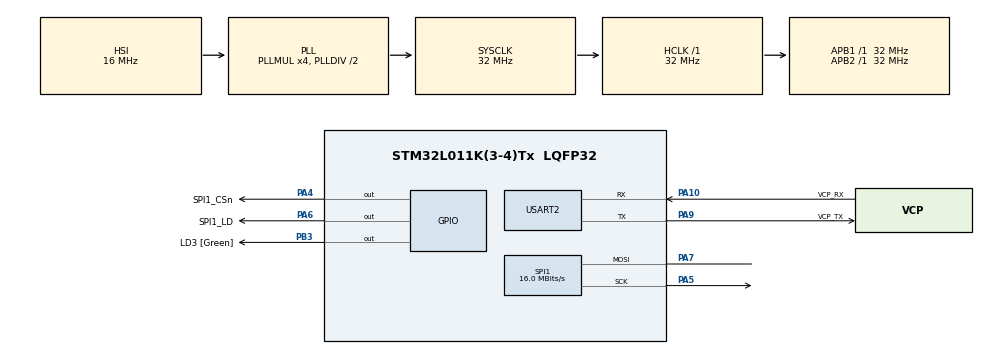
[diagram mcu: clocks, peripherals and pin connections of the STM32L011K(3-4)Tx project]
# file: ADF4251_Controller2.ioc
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Mcu.Family=STM32L0
Mcu.Name=STM32L011K(3-4)Tx
Mcu.Package=LQFP32
NVIC.USART2_IRQn=true\:0\:0\:false\:false\:true\:true\:true
PA10.GPIO_Label=VCP_RX
PA10.Mode=Asynchronous
PA10.Signal=USART2_RX
PA13.GPIO_Label=TMS
PA13.Mode=Serial_Wire
PA13.Signal=SYS_SWDIO
PA14.GPIO_Label=TCK
PA14.Mode=Serial_Wire
PA14.Signal=SYS_SWCLK
PA4.GPIO_Label=SPI1_CSn
PA4.Signal=GPIO_Output
PA5.Mode=Simplex_Bidirectional_Master
PA5.Signal=SPI1_SCK
PA6.GPIO_Label=SPI1_LD
PA6.Signal=GPIO_Output
PA7.Mode=Simplex_Bidirectional_Master
PA7.Signal=SPI1_MOSI
PA9.GPIO_Label=VCP_TX
PA9.Mode=Asynchronous
PA9.Signal=USART2_TX
PB3.GPIO_Label=LD3 [Green]
PB3.Signal=GPIO_Output
ProjectManager.HeapSize=0x200
ProjectManager.StackSize=0x400
ProjectManager.TargetToolchain=SW4STM32
RCC.AHBFreq_Value=32000000
RCC.APB1Freq_Value=32000000
RCC.APB1TimFreq_Value=32000000
RCC.APB2Freq_Value=32000000
RCC.APB2TimFreq_Value=32000000
RCC.HCLKFreq_Value=32000000
RCC.HSE_VALUE=8000000
RCC.HSI16_VALUE=16000000
RCC.HSI48_VALUE=48000000
RCC.HSI_VALUE=16000000
RCC.LSE_VALUE=32768
RCC.MSI_VALUE=2097000
RCC.PLLMUL=RCC_PLLMUL_4
RCC.SYSCLKFreq_VALUE=32000000
RCC.SYSCLKSource=RCC_SYSCLKSOURCE_PLLCLK
RCC.VCOOutputFreq_Value=64000000
SPI1.CalculateBaudRate=16.0 MBits/s
SPI1.Direction=SPI_DIRECTION_1LINE
SPI1.Mode=SPI_MODE_MASTER
SPI1.VirtualType=VM_MASTER
USART2.VirtualMode-Asynchronous=VM_ASYNC
board=NUCLEO-L011K4

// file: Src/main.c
/* USER CODE BEGIN Header */
/**
  ******************************************************************************
  * @file           : main.c
  * @brief          : Main program body
  ******************************************************************************
  ** This notice applies to any and all portions of this file
  * that are not between comment pairs USER CODE BEGIN and
  * USER CODE END. Other portions of this file, whether
  * inserted by the user or by software development tools
  * are owned by their respective copyright owners.
  *
  * COPYRIGHT(c) 2019 STMicroelectronics
  *
  * Redistribution and use in source and binary forms, with or without modification,
  * are permitted provided that the following conditions are met:
  *   1. Redistributions of source code must retain the above copyright notice,
  *      this list of conditions and the following disclaimer.
  *   2. Redistributions in binary form must reproduce the above copyright notice,
  *      this list of conditions and the following disclaimer in the documentation
  *      and/or other materials provided with the distribution.
  *   3. Neither the name of STMicroelectronics nor the names of its contributors
  *      may be used to endorse or promote products derived from this software
  *      without specific prior written permission.
  *
  * THIS SOFTWARE IS PROVIDED BY THE COPYRIGHT HOLDERS AND CONTRIBUTORS "AS IS"
  * AND ANY EXPRESS OR IMPLIED WARRANTIES, INCLUDING, BUT NOT LIMITED TO, THE
  * IMPLIED WARRANTIES OF MERCHANTABILITY AND FITNESS FOR A PARTICULAR PURPOSE ARE
  * DISCLAIMED. IN NO EVENT SHALL THE COPYRIGHT HOLDER OR CONTRIBUTORS BE LIABLE
  * FOR ANY DIRECT, INDIRECT, INCIDENTAL, SPECIAL, EXEMPLARY, OR CONSEQUENTIAL
  * DAMAGES (INCLUDING, BUT NOT LIMITED TO, PROCUREMENT OF SUBSTITUTE GOODS OR
  * SERVICES; LOSS OF USE, DATA, OR PROFITS; OR BUSINESS INTERRUPTION) HOWEVER
  * CAUSED AND ON ANY THEORY OF LIABILITY, WHETHER IN CONTRACT, STRICT LIABILITY,
  * OR TORT (INCLUDING NEGLIGENCE OR OTHERWISE) ARISING IN ANY WAY OUT OF THE USE
  * OF THIS SOFTWARE, EVEN IF ADVISED OF THE POSSIBILITY OF SUCH DAMAGE.
  *
  ******************************************************************************
  */
/* USER CODE END Header */

#include "main.h"

/* USER CODE BEGIN Includes */
#include "ringbuffer.h"
#include "adf4351.h"

/* USER CODE END Includes */

SPI_HandleTypeDef hspi1;

UART_HandleTypeDef huart2;

/* USER CODE BEGIN PV */
ringbuf_uint8t uart2_rx_rb;
uint8_t uart2_tmp_rx_char;
#define uart2_rx_buffer_size 6
uint8_t uart2_rx_buffer[uart2_rx_buffer_size];
/* USER CODE END PV */

void SystemClock_Config(void);
static void MX_GPIO_Init(void);
static void MX_USART2_UART_Init(void);
static void MX_SPI1_Init(void);

int main(void)
{

  /* MCU Configuration--------------------------------------------------------*/

  /* Reset of all peripherals, Initializes the Flash interface and the Systick. */
  HAL_Init();

  /* USER CODE BEGIN Init */
  // setup initial state for SPI I/O Pins..
  HAL_GPIO_WritePin(SPI1_CSn_GPIO_Port, SPI1_CSn_Pin, 1);
  HAL_GPIO_WritePin(SPI1_LD_GPIO_Port, SPI1_LD_Pin, 1);
  // set LED default states (turns them on)
  HAL_GPIO_WritePin(LD3_GPIO_Port, LD3_Pin, 1);

  /* USER CODE END Init */

  /* Configure the system clock */
  SystemClock_Config();

  /* Initialize all configured peripherals */
  MX_GPIO_Init();
  MX_USART2_UART_Init();
  MX_SPI1_Init();
  /* USER CODE BEGIN 2 */
  rb_init(&uart2_rx_rb, uart2_rx_buffer, uart2_rx_buffer_size);
  cmd_sm_init();
  send_ident();
  // enable receive interrupt for UART1
  HAL_UART_Receive_IT(&huart2, &uart2_tmp_rx_char, 1 );
  /* USER CODE END 2 */

  /* Infinite loop */
  /* USER CODE BEGIN WHILE */
  int loop_counter = 0;
  while (1)
  {
    /* USER CODE END WHILE */
		// update command state machine state
		// reads rx queue processing input
		// makes calls to adf4351 to compute and set new state.
	    cmd_sm_update();

		//main loop heart beat LED..
		if ( loop_counter == 100000 ) {
			HAL_GPIO_TogglePin(LD3_GPIO_Port, LD3_Pin );
			loop_counter = 0;
		} else {
			++loop_counter;
		}
  }
}

void SystemClock_Config(void)
{
  RCC_OscInitTypeDef RCC_OscInitStruct = {0};
  RCC_ClkInitTypeDef RCC_ClkInitStruct = {0};
  RCC_PeriphCLKInitTypeDef PeriphClkInit = {0};

  /**Configure the main internal regulator output voltage
  */
  __HAL_PWR_VOLTAGESCALING_CONFIG(PWR_REGULATOR_VOLTAGE_SCALE1);
  /**Initializes the CPU, AHB and APB busses clocks
  */
  RCC_OscInitStruct.OscillatorType = RCC_OSCILLATORTYPE_HSI;
  RCC_OscInitStruct.HSIState = RCC_HSI_ON;
  RCC_OscInitStruct.HSICalibrationValue = RCC_HSICALIBRATION_DEFAULT;
  RCC_OscInitStruct.PLL.PLLState = RCC_PLL_ON;
  RCC_OscInitStruct.PLL.PLLSource = RCC_PLLSOURCE_HSI;
  RCC_OscInitStruct.PLL.PLLMUL = RCC_PLLMUL_4;
  RCC_OscInitStruct.PLL.PLLDIV = RCC_PLLDIV_2;
  if (HAL_RCC_OscConfig(&RCC_OscInitStruct) != HAL_OK)
  {
    Error_Handler();
  }
  /**Initializes the CPU, AHB and APB busses clocks
  */
  RCC_ClkInitStruct.ClockType = RCC_CLOCKTYPE_HCLK|RCC_CLOCKTYPE_SYSCLK
                              |RCC_CLOCKTYPE_PCLK1|RCC_CLOCKTYPE_PCLK2;
  RCC_ClkInitStruct.SYSCLKSource = RCC_SYSCLKSOURCE_PLLCLK;
  RCC_ClkInitStruct.AHBCLKDivider = RCC_SYSCLK_DIV1;
  RCC_ClkInitStruct.APB1CLKDivider = RCC_HCLK_DIV1;
  RCC_ClkInitStruct.APB2CLKDivider = RCC_HCLK_DIV1;

  if (HAL_RCC_ClockConfig(&RCC_ClkInitStruct, FLASH_LATENCY_1) != HAL_OK)
  {
    Error_Handler();
  }
  PeriphClkInit.PeriphClockSelection = RCC_PERIPHCLK_USART2;
  PeriphClkInit.Usart2ClockSelection = RCC_USART2CLKSOURCE_PCLK1;
  if (HAL_RCCEx_PeriphCLKConfig(&PeriphClkInit) != HAL_OK)
  {
    Error_Handler();
  }
}

static void MX_SPI1_Init(void)
{

  /* SPI1 parameter configuration*/
  hspi1.Instance = SPI1;
  hspi1.Init.Mode = SPI_MODE_MASTER;
  hspi1.Init.Direction = SPI_DIRECTION_1LINE;
  hspi1.Init.DataSize = SPI_DATASIZE_8BIT;
  hspi1.Init.CLKPolarity = SPI_POLARITY_LOW;
  hspi1.Init.CLKPhase = SPI_PHASE_1EDGE;
  hspi1.Init.NSS = SPI_NSS_SOFT;
  hspi1.Init.BaudRatePrescaler = SPI_BAUDRATEPRESCALER_2;
  hspi1.Init.FirstBit = SPI_FIRSTBIT_MSB;
  hspi1.Init.TIMode = SPI_TIMODE_DISABLE;
  hspi1.Init.CRCCalculation = SPI_CRCCALCULATION_DISABLE;
  hspi1.Init.CRCPolynomial = 7;
  if (HAL_SPI_Init(&hspi1) != HAL_OK)
  {
    Error_Handler();
  }

}

static void MX_USART2_UART_Init(void)
{

  huart2.Instance = USART2;
  huart2.Init.BaudRate = 115200;
  huart2.Init.WordLength = UART_WORDLENGTH_8B;
  huart2.Init.StopBits = UART_STOPBITS_1;
  huart2.Init.Parity = UART_PARITY_NONE;
  huart2.Init.Mode = UART_MODE_TX_RX;
  huart2.Init.HwFlowCtl = UART_HWCONTROL_NONE;
  huart2.Init.OverSampling = UART_OVERSAMPLING_16;
  huart2.Init.OneBitSampling = UART_ONE_BIT_SAMPLE_DISABLE;
  huart2.AdvancedInit.AdvFeatureInit = UART_ADVFEATURE_NO_INIT;
  if (HAL_UART_Init(&huart2) != HAL_OK)
  {
    Error_Handler();
  }

}

static void MX_GPIO_Init(void)
{
  GPIO_InitTypeDef GPIO_InitStruct = {0};

  /* GPIO Ports Clock Enable */
  __HAL_RCC_GPIOA_CLK_ENABLE();
  __HAL_RCC_GPIOB_CLK_ENABLE();

  /*Configure GPIO pin Output Level */
  HAL_GPIO_WritePin(GPIOA, SPI1_CSn_Pin|SPI1_LD_Pin, GPIO_PIN_RESET);

  /*Configure GPIO pin Output Level */
  HAL_GPIO_WritePin(LD3_GPIO_Port, LD3_Pin, GPIO_PIN_RESET);

  /*Configure GPIO pins : SPI1_CSn_Pin SPI1_LD_Pin */
  GPIO_InitStruct.Pin = SPI1_CSn_Pin|SPI1_LD_Pin;
  GPIO_InitStruct.Mode = GPIO_MODE_OUTPUT_PP;
  GPIO_InitStruct.Pull = GPIO_NOPULL;
  GPIO_InitStruct.Speed = GPIO_SPEED_FREQ_LOW;
  HAL_GPIO_Init(GPIOA, &GPIO_InitStruct);

  /*Configure GPIO pin : LD3_Pin */
  GPIO_InitStruct.Pin = LD3_Pin;
  GPIO_InitStruct.Mode = GPIO_MODE_OUTPUT_PP;
  GPIO_InitStruct.Pull = GPIO_NOPULL;
  GPIO_InitStruct.Speed = GPIO_SPEED_FREQ_LOW;
  HAL_GPIO_Init(LD3_GPIO_Port, &GPIO_InitStruct);

}

/* USER CODE BEGIN 4 */
// UART receive interrupt callback
void HAL_UART_RxCpltCallback(UART_HandleTypeDef *huart)
{
  /* Prevent unused argument(s) compilation warning */
  //UNUSED(huart);
  // add received char to ring buffer.
  rb_put(&uart2_rx_rb, uart2_tmp_rx_char );
  // kick off the next read
  HAL_UART_Receive_IT(&huart2, &uart2_tmp_rx_char, 1 );
}

adf4350_init_param pll_config;

void cmd_sm_init() {
  // initialize pll_config structure
  pll_config.clkin = 10e6;
  pll_config.channel_spacing = 100;
  pll_config.power_up_frequency = 146e6;
  pll_config.reference_div_factor = 1;
  pll_config.reference_doubler_enable = 0;
  pll_config.reference_div2_enable = 0;
  pll_config.phase_detector_polarity_positive_enable = 1;
  pll_config.lock_detect_precision_6ns_enable = 0; // 10 ns
  pll_config.lock_detect_function_integer_n_enable = 0; // Fractional pll
  pll_config.charge_pump_current = 7; //2.50
  pll_config.muxout_select = 6; // Digital Lock Detect Out
  pll_config.low_spur_mode_enable = 1; // higher noise, lower spurs.
  pll_config.cycle_slip_reduction_enable = 0;
  pll_config.charge_cancellation_enable = 0;
  pll_config.anti_backlash_3ns_enable = 0;
  pll_config.band_select_clock_mode_high_enable = 0; // low
  pll_config.clk_divider_12bit = 0;
  pll_config.clk_divider_mode = 0;
  pll_config.aux_output_enable = 0;
  pll_config.aux_output_fundamental_enable = 0;
  pll_config.mute_till_lock_enable = 1;
  pll_config.output_power = 2; // +2 dBm
  pll_config.aux_output_power = 0;
  adf4350_out_altvoltage0_powerdown(0); // power down PLL
  adf4350_setup(pll_config);
}

// temp storage for received number.
char cmdbuffer[15];
int cmdbuf_idx = 0;

// A simple atoi() function
int64_t numvec_atoi(char *str)
{
    int64_t res = 0; // Initialize result
    // Iterate through all characters of input string and
    // update result
    for (int i = 0; (str[i] != '\0') && (i < 16); ++i)
        res = res*10 + str[i] - '0';
    // return result.
    return res;
}

int isNumber(uint8_t c) {
	if (( c >= 0x30 ) && (c <= 0x39 )) {
		return 1;
	} else {
		return 0;
	}
}

void send_error_response() {
	// send ?; chars as error indicator..
	HAL_UART_Transmit(&huart2, (uint8_t*)"?;", 2, 100);
}

void send_accept_response() {
	// send k; chars as error indicator..
	HAL_UART_Transmit(&huart2, (uint8_t*)"k;", 2, 100);
}

char ident_string[] = "ADF4351 PLL Controller v1;";

void send_ident() {
	HAL_UART_Transmit(&huart2, (uint8_t*)ident_string, sizeof(ident_string)-1, 1000);
}

void process_command() {
	uint64_t freq_hz=0;
	if ( cmdbuf_idx == 0 ) {
		// empty command buffer means no-op
		return;
	}
	switch(cmdbuffer[0]) {
	case 'f':
		// process freq set command
		freq_hz = numvec_atoi(&cmdbuffer[1]);
		adf4350_out_altvoltage0_frequency( freq_hz );
		send_accept_response();
		break;
	case 'n':
		// active no-op command
		send_accept_response();
		break;
	case 'i':
		// ident command
		send_ident();
		break;
	case 'd':
		// power down PLL
		adf4350_out_altvoltage0_powerdown(1); // power down PLL
		send_accept_response();
		break;
	case 'u':
		// power up PLL
		adf4350_out_altvoltage0_powerdown(0); // power up PLL
		send_accept_response();
		break;
	default:
		// return error
		send_error_response();
	}
}

void cmd_sm_update() {
  // see if there is any chars to be processed..
  if ( rb_isempty(&uart2_rx_rb) == 0 ) {
	uint8_t byte_in='?';
	// get a byte from rx ring buffer.
	rb_get(&uart2_rx_rb, &byte_in);
	// echo char being processed
	HAL_UART_Transmit(&huart2, &byte_in, 1, 100);
    if ( cmdbuf_idx > 20 ) {
	  cmdbuf_idx = 0; // reset buffer
	  send_error_response();
	} else {
	  if ( byte_in != ';') {
		if ( (cmdbuf_idx==0 ) && (isNumber(byte_in)==1) ) {
			// error state, commands do not start with numbers.
			send_error_response();
		}
	    // add byte to cmd buffer
		cmdbuffer[cmdbuf_idx] = byte_in;
		cmdbuf_idx++;
	  } else {
	    // byte_in = ';' end of command
		// add null to end
		cmdbuffer[cmdbuf_idx] = 0;
		process_command();
		cmdbuf_idx=0;
	  }
	}
  }
}
/* USER CODE END 4 */

void Error_Handler(void)
{
}

/************************ (C) COPYRIGHT STMicroelectronics *****END OF FILE****/
